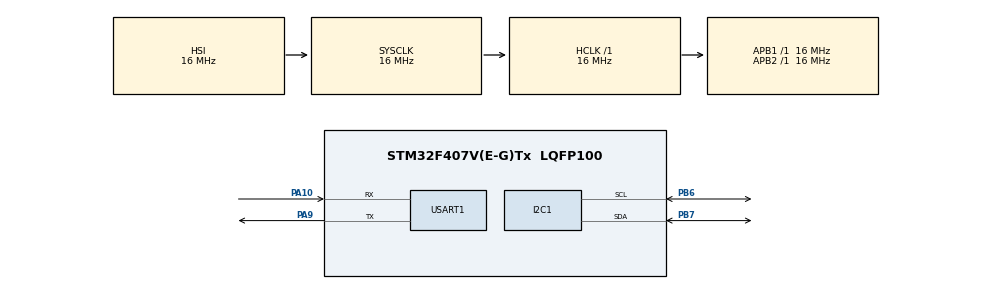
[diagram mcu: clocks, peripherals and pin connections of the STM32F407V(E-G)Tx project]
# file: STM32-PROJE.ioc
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Mcu.Family=STM32F4
Mcu.Name=STM32F407V(E-G)Tx
Mcu.Package=LQFP100
NVIC.PriorityGroup=NVIC_PRIORITYGROUP_4
PA10.Mode=Asynchronous
PA10.Signal=USART1_RX
PA13.Mode=Serial_Wire
PA13.Signal=SYS_JTMS-SWDIO
PA14.Mode=Serial_Wire
PA14.Signal=SYS_JTCK-SWCLK
PA9.Mode=Asynchronous
PA9.Signal=USART1_TX
PB6.Mode=I2C
PB6.Signal=I2C1_SCL
PB7.Mode=I2C
PB7.Signal=I2C1_SDA
ProjectManager.HeapSize=0x200
ProjectManager.StackSize=0x400
ProjectManager.TargetToolchain=STM32CubeIDE
RCC.AHBFreq_Value=16000000
RCC.APB1Freq_Value=16000000
RCC.APB2Freq_Value=16000000
RCC.CortexFreq_Value=16000000
RCC.HSE_VALUE=25000000
RCC.HSI_VALUE=16000000
RCC.LSE_VALUE=32768
RCC.SYSCLKFreq_VALUE=16000000
RCC.VCOOutputFreq_Value=192000000
USART1.VirtualMode=VM_ASYNC
board=custom

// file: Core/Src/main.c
/* USER CODE BEGIN Header */
/**
  ******************************************************************************
  * @file           : main.c
  * @brief          : Main program body
  ******************************************************************************
  * @attention
  *
  * Copyright (c) 2026 STMicroelectronics.
  * All rights reserved.
  *
  * This software is licensed under terms that can be found in the LICENSE file
  * in the root directory of this software component.
  * If no LICENSE file comes with this software, it is provided AS-IS.
  *
  ******************************************************************************
  */
/* USER CODE END Header */
#include "main.h"
#include "i2c.h"
#include "usart.h"
#include "gpio.h"

/* USER CODE BEGIN Includes */
#include "ads1x1x.h"
#include <stdio.h>
#include <string.h>
/* USER CODE END Includes */

/* USER CODE BEGIN PV */
static ads1x1x_t adc_sensor;
/* USER CODE END PV */

void SystemClock_Config(void);
/* USER CODE BEGIN PFP */
static ads1x1x_status_t stm32_i2c_read(uint8_t dev_addr, uint8_t reg_addr, uint8_t *data, uint16_t len);
static ads1x1x_status_t stm32_i2c_write(uint8_t dev_addr, uint8_t reg_addr, const uint8_t *data, uint16_t len);
/* USER CODE END PFP */

/* USER CODE BEGIN 0 */
/**
  * @brief Basit blocking UART string gonderme yardimcisi (Gorev 6:
  *        olcum sonucunun UART uzerinden gozlemlenebilir hale getirilmesi icin).
  */
static void uart_print(const char *text)
{
  HAL_UART_Transmit(&huart1, (uint8_t *)text, (uint16_t)strlen(text), 100);
}

/**
  * @brief millivolts degerini "Voltage: <tam>.<2 basamak ondalik> mV\r\n"
  *        seklinde UART'a yazdirir. Float printf/snprintf desteginin her
  *        derleyici ayarinda acik olmayabilecegi icin ondalik kismi elle
  *        hesaplayip yaziyoruz (daha garanti bir yontem).
  */
static void uart_print_voltage(float millivolts)
{
  char buffer[48];
  int32_t whole = (int32_t)millivolts;
  int32_t frac = (int32_t)((millivolts - (float)whole) * 100.0f);
  if (frac < 0)
  {
    frac = -frac;
  }
  snprintf(buffer, sizeof(buffer), "Voltage: %ld.%02ld mV\r\n", (long)whole, (long)frac);
  uart_print(buffer);
}
/* USER CODE END 0 */

int main(void)
{
  /* MCU Configuration--------------------------------------------------------*/
  HAL_Init();
  SystemClock_Config();

  /* Initialize all configured peripherals */
  MX_GPIO_Init();
  MX_I2C1_Init();
  MX_USART1_UART_Init();

  /* USER CODE BEGIN 2 */
  int16_t raw_adc_val = 0;
  float millivolts = 0.0f;
  ads1x1x_status_t status;

  /* Sensor baslatiliyor: variant = ADS1115, I2C1 uzerinden */
  status = ads1x1x_init(&adc_sensor, ADS1X1X_VARIANT_ADS1115, ADS1X1X_I2C_ADDR_GND,
                         stm32_i2c_read, stm32_i2c_write);
  if (status != ADS1X1X_OK)
  {
    Error_Handler();
  }
  uart_print("Sensor initialized\r\n");

  /* Sensor konfigurasyonu: AIN0-AIN1 diferansiyel, +-2.048V, continuous mode, 128SPS */
  status = ads1x1x_configure(&adc_sensor, ADS1X1X_MUX_AIN0_AIN1, ADS1X1X_PGA_FSR_2048MV,
                              ADS1X1X_MODE_CONTINUOUS, ADS1X1X_DR_IDX4);
  if (status != ADS1X1X_OK)
  {
    Error_Handler();
  }
  uart_print("Sensor configuration OK\r\n");
  /* USER CODE END 2 */

  /* Infinite loop */
  /* USER CODE BEGIN WHILE */
  while (1)
  {
    /* Sensorden ham ADC okumasi yapiliyor */
    status = ads1x1x_read_raw(&adc_sensor, &raw_adc_val);
    if (status == ADS1X1X_OK)
    {
      ads1x1x_raw_to_millivolts(&adc_sensor, raw_adc_val, ADS1X1X_PGA_FSR_2048MV, &millivolts);
      uart_print_voltage(millivolts);
    }
    else
    {
      uart_print("Sensor read error\r\n");
    }

    HAL_Delay(500);
    /* USER CODE END WHILE */

  }
}

void SystemClock_Config(void)
{
  RCC_OscInitTypeDef RCC_OscInitStruct = {0};
  RCC_ClkInitTypeDef RCC_ClkInitStruct = {0};

  /** Configure the main internal regulator output voltage
  */
  __HAL_RCC_PWR_CLK_ENABLE();
  __HAL_PWR_VOLTAGESCALING_CONFIG(PWR_REGULATOR_VOLTAGE_SCALE1);

  /** Initializes the RCC Oscillators according to the specified parameters
  * in the RCC_OscInitTypeDef structure.
  */
  RCC_OscInitStruct.OscillatorType = RCC_OSCILLATORTYPE_HSI;
  RCC_OscInitStruct.HSIState = RCC_HSI_ON;
  RCC_OscInitStruct.HSICalibrationValue = RCC_HSICALIBRATION_DEFAULT;
  RCC_OscInitStruct.PLL.PLLState = RCC_PLL_NONE;
  if (HAL_RCC_OscConfig(&RCC_OscInitStruct) != HAL_OK)
  {
    Error_Handler();
  }

  /** Initializes the CPU, AHB and APB buses clocks
  */
  RCC_ClkInitStruct.ClockType = RCC_CLOCKTYPE_HCLK|RCC_CLOCKTYPE_SYSCLK
                              |RCC_CLOCKTYPE_PCLK1|RCC_CLOCKTYPE_PCLK2;
  RCC_ClkInitStruct.SYSCLKSource = RCC_SYSCLKSOURCE_HSI;
  RCC_ClkInitStruct.AHBCLKDivider = RCC_SYSCLK_DIV1;
  RCC_ClkInitStruct.APB1CLKDivider = RCC_HCLK_DIV1;
  RCC_ClkInitStruct.APB2CLKDivider = RCC_HCLK_DIV1;

  if (HAL_RCC_ClockConfig(&RCC_ClkInitStruct, FLASH_LATENCY_0) != HAL_OK)
  {
    Error_Handler();
  }
}

/* USER CODE BEGIN 4 */

/**
  * @brief STM32 HAL I2C Read Wrapper (ads1x1x driver icin callback)
  * @note  STM32 HAL, I2C adresini 1 bit sola kaydirilmis (8-bit) bekler,
  *        dev_addr parametresi 7-bit cihaz adresi olarak alinir.
  */
static ads1x1x_status_t stm32_i2c_read(uint8_t dev_addr, uint8_t reg_addr, uint8_t *data, uint16_t len)
{
  /* NOT: STM32 klasik HAL kutuphanesi, tam 2 byte okunan I2C islemlerinde
   * (bizim 16-bit register'larimizin hepsi bu durumda) donanim seviyesinde
   * ozel bir POS/ACK bit sirasi kullanir (reference manual'daki "N=2 receive"
   * durumu). Renode'un STM32 I2C1 modeli bu ozel sirayi tam desteklemedigi
   * icin, gercek 2-byte okumalarda firmware sonsuz donguye takilabiliyor.
   * Cozum: 1 byte fazladan isteyip (N=3, ozel durum degil) fazlaligi atmak --
   * gercek donanimda da zararsizdir (chip fazla clock'ta veriyi tekrarlar). */
  uint8_t buffer[3];
  uint16_t read_len = (len == 2) ? 3u : len;

  if (read_len > sizeof(buffer))
  {
    return ADS1X1X_ERROR_COMM;
  }

  HAL_StatusTypeDef status = HAL_I2C_Mem_Read(&hi2c1, (uint16_t)(dev_addr << 1), reg_addr,
                                               I2C_MEMADD_SIZE_8BIT, buffer, read_len, 100);
  if (status != HAL_OK)
  {
    return ADS1X1X_ERROR_COMM;
  }

  for (uint16_t i = 0; i < len; i++)
  {
    data[i] = buffer[i];
  }
  return ADS1X1X_OK;
}

/**
  * @brief STM32 HAL I2C Write Wrapper (ads1x1x driver icin callback)
  */
static ads1x1x_status_t stm32_i2c_write(uint8_t dev_addr, uint8_t reg_addr, const uint8_t *data, uint16_t len)
{
  HAL_StatusTypeDef status = HAL_I2C_Mem_Write(&hi2c1, (uint16_t)(dev_addr << 1), reg_addr,
                                                I2C_MEMADD_SIZE_8BIT, (uint8_t *)data, len, 100);
  return (status == HAL_OK) ? ADS1X1X_OK : ADS1X1X_ERROR_COMM;
}

/* USER CODE END 4 */

void Error_Handler(void)
{
  __disable_irq();
  while (1)
  {
  }
}
